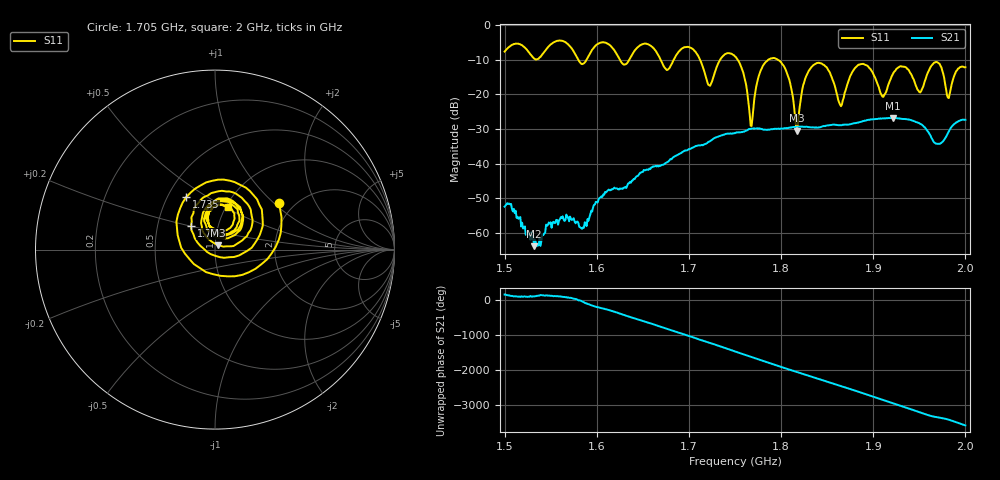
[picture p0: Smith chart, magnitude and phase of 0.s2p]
! NanoVNA-App by SYSJOINT et al v1.1.209 (+OD18)
! Date: 2026-01-21 14:53:42
! Start: 1,5GHz Stop: 2GHz Points: 501
! S-Parameter data: F S11 S21 S12 S22
# Hz S RI R 50
!  Frequency  S11_Real  S11_Imag  S21_Real  S21_Imag  S12_Real  S12_Imag  S22_Real  S22_Imag
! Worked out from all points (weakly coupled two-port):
!   501 points, 1.5 GHz to 2 GHz, reference 50 ohm
!   highest |S21| = -26.82 dB at 1.921 GHz (marker M1); lowest = -63.9 dB at 1.532 GHz (marker M2)
!   lowest |S11| = -30.5 dB at 1.817 GHz (marker M3), VSWR 1.06, Z = 51.4 + j2.69 ohm
!   |S11| at or under -10 dB: 1.712 GHz to 1.734 GHz (21.94 MHz wide, 1.27 % of centre); 1.753 GHz to 1.786 GHz (33.33 MHz wide, 1.88 % of centre); 1.796 GHz to end of sweep (the widest 3 of 6)
!   S12 and S22 are empty: the file has one direction only
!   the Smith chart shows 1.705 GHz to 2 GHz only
!   S11 on the Smith chart (normalised r, x): 1.705 GHz: 1.68, +1.08; 1.735 GHz: 0.62, +0.41; 1.776 GHz: 0.74, +0.20; 2 GHz: 1.02, +0.51
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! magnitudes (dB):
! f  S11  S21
! 1.5 GHz  -7.7  -52.5
! 1.532 GHz  -9.7  -63.9
! 1.561 GHz  -4.5  -55.5
! 1.584 GHz  -11.3  -58.9
! 1.667 GHz  -8.9  -40.9
! 1.705 GHz  -7.1  -35.3
! 1.722 GHz  -17.4  -33.7
! 1.735 GHz  -9.5  -31.9
! 1.75 GHz  -9.1  -31.2
! 1.767 GHz  -29.1  -30.0
! 1.776 GHz  -14.6  -29.8
! 1.801 GHz  -11.2  -29.9
! 1.817 GHz  -30.5  -29.4
! 1.834 GHz  -11.9  -29.5
! 1.864 GHz  -23.0  -28.9
! 1.885 GHz  -11.5  -28.1
! 1.917 GHz  -16.8  -26.9
! 1.921 GHz  -14.3  -26.8
! 1.951 GHz  -19.5  -28.5
! 1.97 GHz  -10.8  -34.3
! 1.982 GHz  -21.1  -30.7
! 2 GHz  -12.2  -27.4
